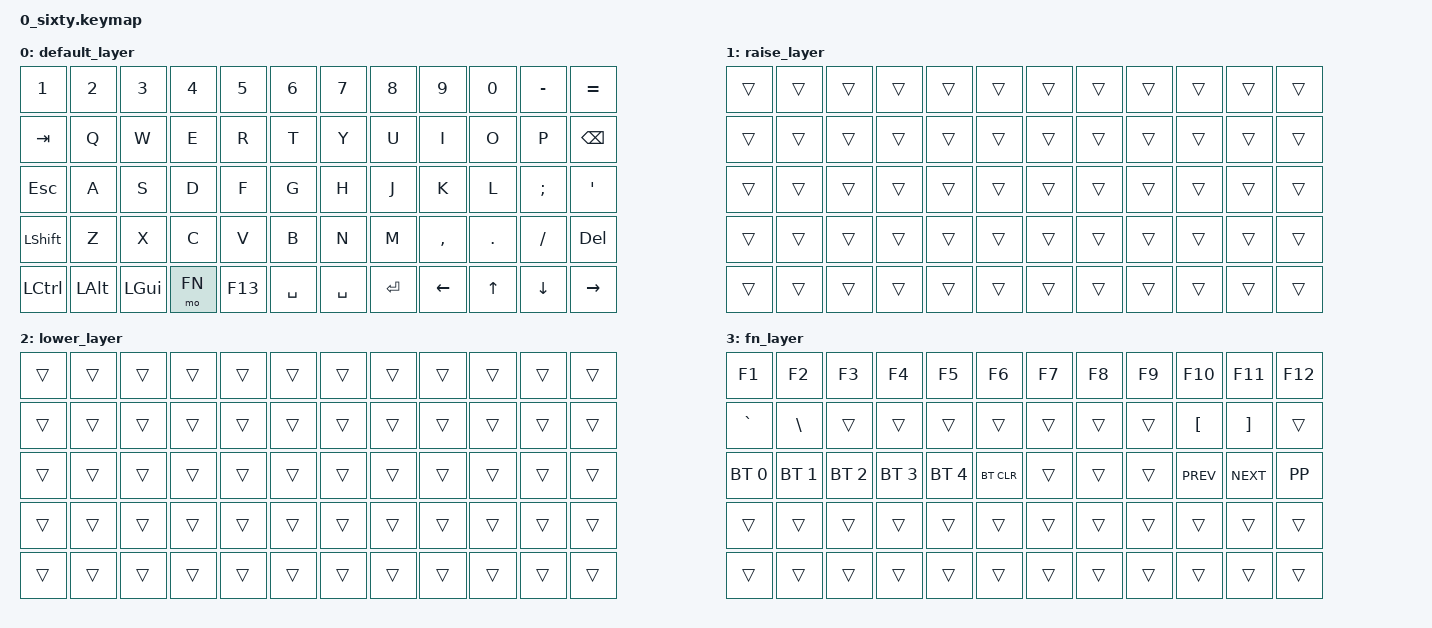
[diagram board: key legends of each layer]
/*
 * Copyright (c) 2020 The ZMK Contributors
 *
 * SPDX-License-Identifier: MIT
 */

#include <behaviors.dtsi>
#include <dt-bindings/zmk/keys.h>
#include <dt-bindings/zmk/bt.h>
#include <dt-bindings/zmk/outputs.h>

#define DEFAULT 0
#define RAISE 1
#define LOWER 2
#define FN 3

/ {
	keymap0: keymap {
		compatible = "zmk,keymap";

		default_layer {
// ------------------------------------------------------------------------------------------
// | ESC  |  1  |  2  |  3  |  4  |  5  |  6  |  7  |  8  |  9  |  0  |  BKSP  |
// | TAB  |  Q  |  W  |  E  |  R  |  T  |  Y  |  U  |  I  |  O  |  P  |  ENTER |
// | CAPS |  A  |  S  |  D  |  F  |  G  |  H  |  J  |  K  |  L  |  ;  |  CTL   |
// | SHIFT|  Z  |  X  |  C  |  V  |  B  |  N  |  M  |  ,  |  .  |  /  |  SHIFT |
// | WIN  | MO2 | FN  | ALT | MO1 |   SPACE   | MO1 | ALT | FN  | MO2 |  WIN   |
// ------------------------------------------------------------------------------------------
			bindings = <
&kp N1         &kp N2      &kp N3     &kp N4      &kp N5       &kp N6       &kp N7       &kp N8        &kp N9        &kp N0       &kp MINUS           &kp EQUAL
&kp TAB        &kp Q       &kp W      &kp E       &kp R        &kp T        &kp Y        &kp U         &kp   I       &kp  O       &kp   P             &kp BSPC
&kp ESC        &kp A       &kp S      &kp D       &kp F        &kp G        &kp H        &kp J         &kp   K       &kp  L       &kp SEMI            &kp SQT
&kp LSHFT      &kp Z       &kp X      &kp C       &kp V        &kp B        &kp N        &kp M         &kp COMMA     &kp DOT      &kp SLASH           &kp DEL
&kp LCTRL      &kp LALT    &kp LGUI   &mo FN      &kp F13      &kp SPACE    &kp SPACE    &kp RET        &kp LEFT      &kp UP       &kp DOWN            &kp RIGHT
			>;
		};

		raise_layer {
			bindings = <
&trans         &trans         &trans          &trans         &trans       &trans     &trans     &trans     &trans     &trans     &trans     &trans     
&trans         &trans         &trans          &trans         &trans       &trans     &trans     &trans     &trans     &trans     &trans     &trans     
&trans         &trans         &trans          &trans         &trans       &trans     &trans     &trans     &trans     &trans     &trans     &trans 
&trans         &trans         &trans          &trans         &trans       &trans     &trans     &trans     &trans     &trans     &trans     &trans     
&trans         &trans         &trans          &trans         &trans       &trans     &trans     &trans     &trans     &trans     &trans     &trans     
			>;
		};

		lower_layer {
			bindings = <
&trans           &trans        &trans        &trans        &trans        &trans        &trans     &trans     &trans     &trans     &trans     &trans
&trans           &trans        &trans        &trans        &trans        &trans        &trans     &trans     &trans     &trans     &trans     &trans     
&trans           &trans        &trans        &trans        &trans        &trans        &trans     &trans     &trans     &trans     &trans     &trans     
&trans           &trans        &trans        &trans        &trans        &trans        &trans     &trans     &trans     &trans     &trans     &trans     
&trans           &trans        &trans        &trans        &trans        &trans        &trans     &trans     &trans     &trans     &trans     &trans     
			>;
		};

		fn_layer {
			bindings = <
&kp F1     &kp F2     &kp F3      &kp F4       &kp F5     &kp F6     &kp F7     &kp F8     &kp F9     &kp F10       &kp F11           &kp F12     
&kp GRAVE  &kp BSLH     &trans      &trans       &trans     &trans     &trans     &trans     &trans     &kp LBKT    &kp RBKT          &trans     
&bt BT_SEL 0  &bt BT_SEL 1     &bt BT_SEL 2      &bt BT_SEL 3       &bt BT_SEL 4     &bt BT_CLR     &trans     &trans     &trans     &kp K_PREV    &kp K_NEXT        &kp K_PP     
&trans     &trans     &trans      &trans       &trans     &trans     &trans     &trans     &trans     &trans        &trans            &trans     
&trans     &trans     &trans      &trans       &trans     &trans     &trans     &trans     &trans     &trans        &trans            &trans     
			>;
		};
	};
};
